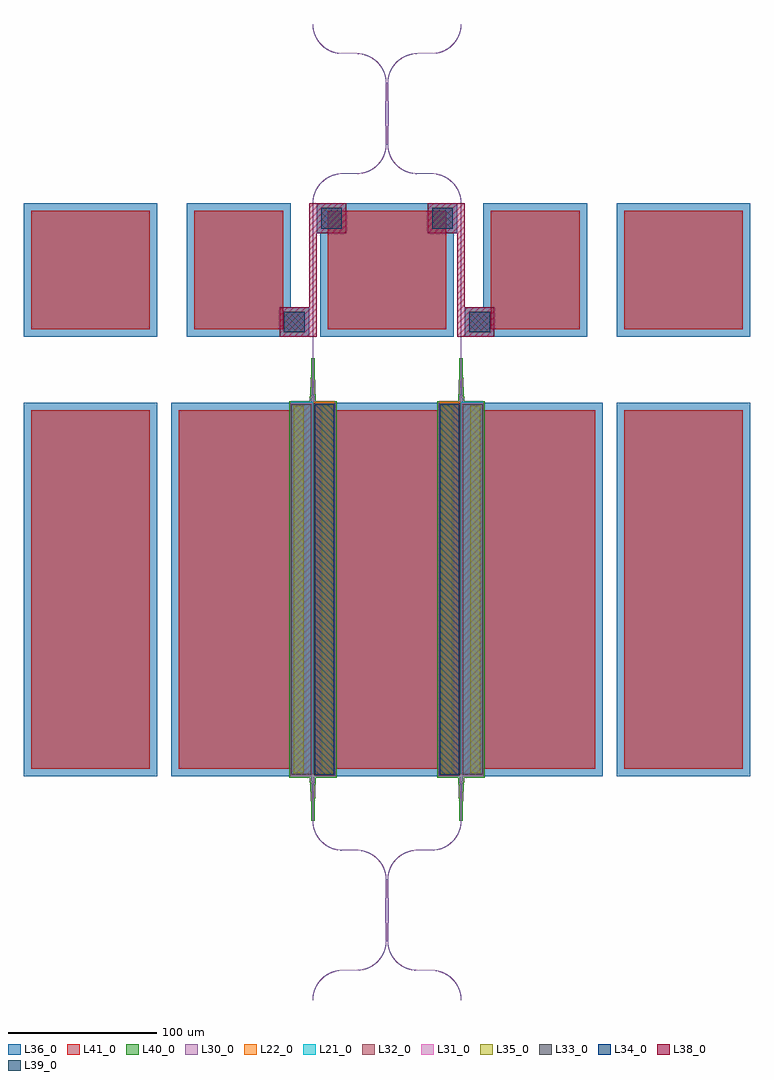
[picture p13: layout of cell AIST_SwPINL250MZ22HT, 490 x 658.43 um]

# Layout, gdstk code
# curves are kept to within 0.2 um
import gdstk
lib = gdstk.Library(unit=1e-6, precision=1e-09)
def R(c, l, rs):  # rectangles x0, y0, x1, y1
    for r in rs: c.add(gdstk.rectangle(r[:2], r[2:], *l))
def A(c, l, x, y, w, h, nx, ny, dx, dy):  # array of equal rectangles
    R(c, l, [(x+i*dx, y+j*dy, x+i*dx+w, y+j*dy+h) for i in range(nx) for j in range(ny)])
def P(c, l, *ps):  # polygons
    for p in ps: c.add(gdstk.Polygon(p, *l))
L21_0 = (21, 0)
L22_0 = (22, 0)
L30_0 = (30, 0)
L31_0 = (31, 0)
L32_0 = (32, 0)
L33_0 = (33, 0)
L34_0 = (34, 0)
L35_0 = (35, 0)
L36_0 = (36, 0)
L38_0 = (38, 0)
L39_0 = (39, 0)
L40_0 = (40, 0)
L41_0 = (41, 0)

aist_swpinl250mz22ht = lib.new_cell('AIST_SwPINL250MZ22HT')
R(aist_swpinl250mz22ht, L21_0, [(-64.5,137,-49.85,388), (49.85,137,64.5,388)])
R(aist_swpinl250mz22ht, L22_0, [(-50.15,137,-35.5,388), (35.5,137,50.15,388)])
P(aist_swpinl250mz22ht, L30_0, [(-50.22,-15.516),(-49.615,-10.605),(-47.759,-5.848),(-44.879,-1.824),(-40.975,1.467),(-37.348,3.322),(-33.266,4.439),(-19.27,4.745),(-14.255,5.732),(-11.032,7.144),(-8.235,9.005),(-5.687,11.432),(-3.651,14.204),(-1.651,18.646),(-0.797,23.443),(-1.105,53.293),(-0.78,66.141),(-1.604,71.184),(-3.61,75.712),(-6.563,79.487),(-10.545,82.563),(-14.028,84.174),(-17.915,85.104),(-31.119,85.311),(-35.298,85.986),(-40.5,88.22),(-44.879,91.808),(-46.807,94.258),(-48.267,96.83),(-49.313,99.511),(-50.004,102.55),(-51,135.5),(-65,135.5),(-65,387.5),(-35,387.5),(-35,135.5),(-49,135.5),(-49.745,115.5),(-49.776,105.1),(-49.408,101.68),(-48.053,97.416),(-45.725,93.5),(-42.626,90.274),(-38.88,87.825),(-35.684,86.554),(-32.317,85.856),(-19.67,85.701),(-15.873,85.172),(-10.742,83.182),(-6.394,79.938),(-2.946,75.448),(-0.878,70.177),(-0.349,66.38),(-0.095,53.293),(0.361,66.619),(0.878,70.177),(2.946,75.448),(6.394,79.938),(10.742,83.182),(15.873,85.172),(19.67,85.701),(32.317,85.856),(35.684,86.554),(38.88,87.825),(42.626,90.274),(45.725,93.5),(48.053,97.416),(49.408,101.68),(49.776,105.1),(49.745,115.5),(49,135.5),(35,135.5),(35,387.5),(65,387.5),(65,135.5),(51,135.5),(50.004,102.55),(49.313,99.511),(48.267,96.83),(46.807,94.258),(44.879,91.808),(40.5,88.22),(35.298,85.986),(31.119,85.311),(17.915,85.104),(14.028,84.174),(10.545,82.563),(6.563,79.487),(3.61,75.712),(1.604,71.184),(0.78,66.141),(1.105,53.293),(0.797,23.443),(1.651,18.646),(3.651,14.204),(5.687,11.432),(8.235,9.005),(11.032,7.144),(14.255,5.732),(19.27,4.745),(33.266,4.439),(37.348,3.322),(40.975,1.467),(44.879,-1.824),(47.759,-5.848),(49.615,-10.605),(50.22,-15.516),(49.78,-15.516),(49.559,-12.564),(48.827,-9.449),(46.94,-5.304),(43.987,-1.529),(40.005,1.547),(36.522,3.158),(32.635,4.088),(19.67,4.283),(15.407,4.929),(10.325,7.04),(6,10.443),(2.753,14.886),(0.824,20.04),(0.349,23.604),(0.095,36.691),(-0.361,23.365),(-0.86,19.884),(-2.791,14.816),(-6,10.443),(-10.325,7.04),(-15.407,4.929),(-19.67,4.283),(-32.635,4.088),(-36.522,3.158),(-40.005,1.547),(-43.987,-1.529),(-46.94,-5.304),(-48.827,-9.449),(-49.559,-12.564),(-49.78,-15.516)],
  [(49,387.5),(49.745,407.5),(49.78,521.98),(49.687,523.819),(49.408,525.72),(48.991,527.431),(48.395,529.173),(47.566,530.994),(46.601,532.655),(45.529,534.152),(44.267,535.601),(42.81,536.972),(41.353,538.098),(39.728,539.123),(38.084,539.953),(36.522,540.574),(35.068,541.02),(33.584,541.353),(32.078,541.571),(30.24,541.679),(19.67,541.699),(17.442,541.92),(15.252,542.386),(13.726,542.866),(12.316,543.432),(9.778,544.788),(8.587,545.598),(7.336,546.595),(5.297,548.626),(3.567,550.925),(2.753,552.302),(2.082,553.666),(1.057,556.525),(0.502,559.267),(0.34,561.26),(0.095,574.107),(-1.105,574.107),(-1.105,590.709),(-1.005,590.709),(-0.77,602.916),(-0.822,604.356),(-1.097,606.5),(-1.651,608.754),(-2.497,611),(-3.487,612.921),(-4.491,614.465),(-5.582,615.847),(-6.849,617.183),(-8.11,618.295),(-9.594,619.385),(-11.032,620.256),(-12.466,620.969),(-14.028,621.59),(-16.495,622.276),(-19.11,622.644),(-30.4,622.7),(-33.266,622.961),(-35.375,623.423),(-37.348,624.078),(-39.173,624.896),(-40.975,625.933),(-43.031,627.455),(-44.879,629.224),(-46.443,631.148),(-47.759,633.248),(-48.838,635.568),(-49.615,638.005),(-50.078,640.522),(-50.22,642.916),(-49.78,642.916),(-49.559,639.964),(-49.256,638.392),(-48.827,636.849),(-48.02,634.759),(-46.94,632.704),(-45.529,630.664),(-43.987,628.929),(-42.126,627.289),(-40.005,625.853),(-38.303,624.963),(-36.522,624.242),(-34.524,623.66),(-32.635,623.312),(-30.24,623.137),(-19.67,623.117),(-17.6,622.92),(-15.407,622.471),(-12.757,621.574),(-10.325,620.36),(-7.952,618.732),(-6,616.957),(-4.248,614.879),(-2.753,612.514),(-1.655,610.115),(-0.824,607.36),(-0.502,605.549),(-0.349,603.796),(-0.095,590.709),(0.095,590.709),(0.361,604.035),(0.546,605.866),(0.86,607.516),(1.655,610.115),(2.791,612.584),(4.248,614.879),(6,616.957),(7.952,618.732),(10.325,620.36),(12.757,621.574),(15.407,622.471),(17.6,622.92),(19.67,623.117),(30.24,623.137),(32.635,623.312),(34.524,623.66),(36.522,624.242),(38.303,624.963),(40.005,625.853),(42.126,627.289),(43.987,628.929),(45.529,630.664),(46.94,632.704),(48.02,634.759),(48.827,636.849),(49.256,638.392),(49.559,639.964),(49.78,642.916),(50.22,642.916),(50.105,640.76),(49.726,638.472),(49.087,636.243),(48.267,634.246),(47.112,632.144),(45.816,630.318),(44.382,628.703),(42.723,627.2),(40.84,625.847),(38.814,624.718),(36.748,623.855),(34.444,623.19),(32.633,622.868),(30.88,622.715),(20.31,622.695),(17.915,622.52),(16.026,622.172),(14.255,621.668),(12.466,620.969),(10.683,620.059),(8.55,618.641),(6.563,616.903),(4.923,615.042),(3.487,612.921),(2.306,610.559),(1.493,608.216),(0.946,605.551),(0.77,602.996),(1.005,590.709),(1.105,590.709),(1.105,574.107),(1.005,574.107),(0.806,560.7),(1.097,558.316),(1.723,555.833),(2.699,553.38),(3.906,551.212),(4.923,549.774),(6.063,548.432),(7.259,547.251),(8.55,546.175),(9.997,545.17),(11.385,544.371),(12.907,543.656),(14.483,543.073),(16.966,542.447),(19.35,542.156),(30.24,542.119),(32.633,541.948),(34.444,541.626),(36.142,541.165),(37.941,540.496),(39.598,539.697),(41.507,538.527),(43.214,537.205),(44.716,535.767),(46.062,534.183),(47.363,532.263),(48.369,530.353),(49.165,528.346),(49.726,526.344),(50.096,524.136),(50.22,521.98),(50.255,407.5),(51,387.5)],
  [(-51,387.5),(-50.255,407.5),(-50.219,522.14),(-50.004,524.85),(-49.493,527.275),(-48.838,529.248),(-47.91,531.286),(-46.807,533.142),(-45.461,534.931),(-43.925,536.561),(-42.283,537.962),(-40.5,539.18),(-38.67,540.167),(-36.899,540.907),(-35.375,541.393),(-33.739,541.771),(-32.156,542.005),(-30.24,542.119),(-19.749,542.136),(-17.915,542.296),(-16.026,542.644),(-13.576,543.39),(-11.243,544.446),(-9.001,545.841),(-6.965,547.523),(-5.171,549.46),(-3.61,551.688),(-2.306,554.257),(-1.43,556.832),(-0.968,559.107),(-0.774,561.5),(-1.005,574.107),(-0.095,574.107),(-0.349,561.02),(-0.546,558.95),(-0.878,557.223),(-1.712,554.552),(-2.946,551.952),(-4.488,549.617),(-5.509,548.386),(-6.509,547.35),(-8.587,545.598),(-10.882,544.141),(-13.202,543.062),(-15.873,542.228),(-17.6,541.896),(-19.67,541.699),(-30.24,541.679),(-32.078,541.571),(-33.584,541.353),(-35.3,540.957),(-36.974,540.41),(-38.52,539.751),(-40.349,538.757),(-41.999,537.625),(-43.701,536.167),(-45.072,534.71),(-46.379,532.989),(-47.454,531.207),(-48.395,529.173),(-49.057,527.2),(-49.582,524.693),(-49.779,522.14),(-49.78,417.5),(-49.745,407.5),(-49,387.5)])
R(aist_swpinl250mz22ht, L31_0, [(-64.5,136,-50.5,387), (50.5,136,64.5,387)])
R(aist_swpinl250mz22ht, L32_0, [(-49.5,136,-35.5,387), (35.5,136,49.5,387)])
R(aist_swpinl250mz22ht, L33_0, [(-64.5,136.5,-51.15,386.5), (51.15,136.5,64.5,386.5)])
R(aist_swpinl250mz22ht, L34_0, [(-48.85,136.5,-35.5,386.5), (35.5,136.5,48.85,386.5)])
R(aist_swpinl250mz22ht, L35_0, [(-63,137.5,-56,385.5), (-44,137.5,-37,385.5), (37,137.5,44,385.5), (56,137.5,63,385.5)])
A(aist_swpinl250mz22ht, L36_0, -145.5, 135.5, 91, 252, 3, 1, 100, 0)
A(aist_swpinl250mz22ht, L36_0, -245, 431.9, 90, 90, 3, 1, 200, 0)
R(aist_swpinl250mz22ht, L36_0, [(-245,135.5,-155,387.5), (155,135.5,245,387.5), (-135,431.9,-65,521.9), (-72.5,431.9,-52.5,451.9), (-72.5,431.9,-52.5,451.9), (52.5,431.9,72.5,451.9), (52.5,431.9,72.5,451.9), (65,431.9,135,521.9), (155,431.9,245,521.9), (-47.5,501.9,-27.5,521.9), (-47.5,501.9,-27.5,521.9), (27.5,501.9,47.5,521.9), (27.5,501.9,47.5,521.9)])
R(aist_swpinl250mz22ht, L38_0, [(-72.5,431.9,-52.5,451.9), (-52.5,431.9,-47.5,521.9), (47.5,431.9,52.5,521.9), (52.5,431.9,72.5,451.9), (-47.5,501.9,-27.5,521.9), (27.5,501.9,47.5,521.9)])
R(aist_swpinl250mz22ht, L39_0, [(-69.5,434.9,-55.5,448.9), (55.5,434.9,69.5,448.9), (-44.5,504.9,-30.5,518.9), (30.5,504.9,44.5,518.9)])
P(aist_swpinl250mz22ht, L40_0, [(48.78,105.5),(48.745,115.5),(48,134.5),(34,134.5),(34,388.5),(48,388.5),(48.745,407.5),(48.78,417.5),(49.745,417.5),(49.745,105.5)],
  [(50.255,105.5),(50.255,417.5),(51.22,417.5),(51.255,407.5),(52,388.5),(66,388.5),(66,134.5),(52,134.5),(51.255,115.5),(51.22,105.5)],
  [(-51.22,105.5),(-51.255,115.5),(-52,134.5),(-66,134.5),(-66,388.5),(-52,388.5),(-51.255,407.5),(-51.22,417.5),(-50.255,417.5),(-50.255,105.5)],
  [(-49.745,105.5),(-49.745,417.5),(-48.78,417.5),(-48.745,407.5),(-48,388.5),(-34,388.5),(-34,134.5),(-48,134.5),(-48.745,115.5),(-48.78,105.5)])
A(aist_swpinl250mz22ht, L41_0, -140.5, 140.5, 81, 242, 3, 1, 100, 0)
A(aist_swpinl250mz22ht, L41_0, -240, 436.9, 80, 80, 3, 1, 200, 0)
R(aist_swpinl250mz22ht, L41_0, [(-240,140.5,-160,382.5), (160,140.5,240,382.5), (-130,436.9,-70,516.9), (70,436.9,130,516.9), (160,436.9,240,516.9)])

lib.write_gds('AIST_SwPINL250MZ22HT.gds')
